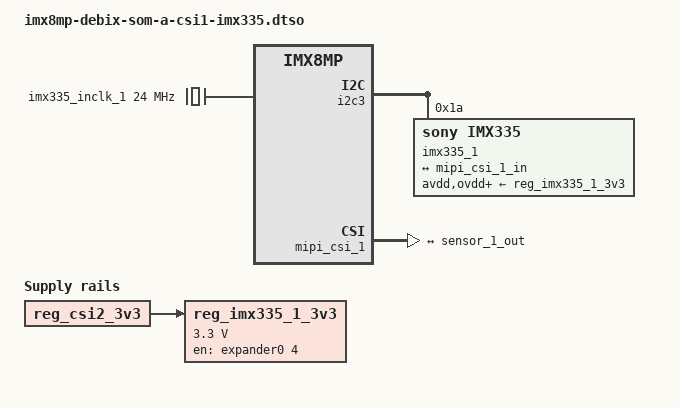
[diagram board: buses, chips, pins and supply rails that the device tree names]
// SPDX-License-Identifier: (GPL-2.0+ OR MIT)
/*
 * Copyright 2023 Ideas on Board Oy
 */

/dts-v1/;
/plugin/;

#include "imx8mp-debix-som-a-csi1.dtsi"

/* Arducam IMX335 Fixed 24 MHz crystal */
&{/} {
	/* 24 MHz Crystal on the camera module */
	imx335_inclk_1: imx335_inclk_24m {
		compatible = "fixed-clock";
		#clock-cells = <0>;
		status = "okay";
		clock-frequency = <24000000>;
	};

	reg_imx335_1_3v3: regulator-imx335_1-vdd3v3 {
		compatible = "regulator-fixed";
		pinctrl-names = "default";
		regulator-min-microvolt = <3300000>;
		regulator-max-microvolt = <3300000>;
		regulator-name = "IMX335_1_POWER_EN";
		gpio = <&expander0 4 GPIO_ACTIVE_HIGH>;
		vin-supply = <&reg_csi2_3v3>;
		startup-delay-us = <300000>;
		enable-active-high;
	};
};

&i2c3 {
	imx335_1: sensor@1a {
		compatible = "sony,imx335";
		reg = <0x1a>;

		clocks = <&imx335_inclk_1>;
		clock-names = "xclk";

		rotation = <180>;
		orientation = <0>;

		status = "okay";

		/* Arducam IMX335 module uses *only* the 3v3 line */
		avdd-supply = <&reg_imx335_1_3v3>;
		ovdd-supply = <&reg_imx335_1_3v3>;
		dvdd-supply = <&reg_imx335_1_3v3>;

		port {
			sensor_1_out: endpoint {
				remote-endpoint = <&mipi_csi_1_in>;
				clock-lanes = <0>;
				data-lanes = <1 2>;
				link-frequencies = /bits/ 64 <594000000>;
			};
		};
	};
};

&mipi_csi_1 {
	status = "okay";

	ports {
		port@0 {
			mipi_csi_1_in: endpoint {
				remote-endpoint = <&sensor_1_out>;
				clock-lanes = <0>;
				data-lanes = <1 2>;
			};
		};
	};
};
